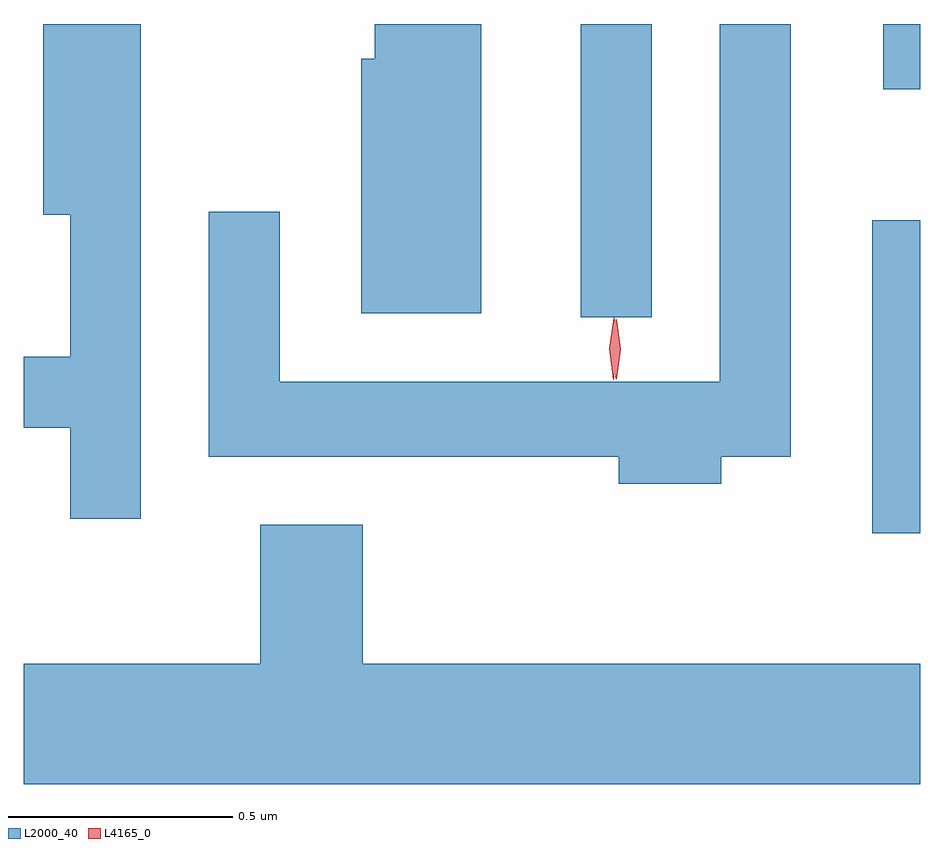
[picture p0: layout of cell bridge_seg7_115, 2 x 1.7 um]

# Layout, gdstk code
import gdstk
lib = gdstk.Library(unit=1e-6, precision=1e-09)
def R(c, l, rs):  # rectangles x0, y0, x1, y1
    for r in rs: c.add(gdstk.rectangle(r[:2], r[2:], *l))
def P(c, l, *ps):  # polygons
    for p in ps: c.add(gdstk.Polygon(p, *l))
L2000_40 = (2000, 40)
L4165_0 = (4165, 0)

bridge_seg7_115 = lib.new_cell('bridge_seg7_115')
R(bridge_seg7_115, L2000_40, [(1497.716,1761.496,1497.823,1762.194), (1497.066,1761.978,1497.224,1762.632), (1497.741,1762.486,1497.823,1762.632)])
P(bridge_seg7_115, L2000_40, [(1497.379,1761.666),(1497.534,1761.666),(1497.534,1762.632),(1497.376,1762.632),(1497.376,1761.834),(1496.394,1761.834),(1496.394,1762.213),(1496.236,1762.213),(1496.236,1761.666),(1497.151,1761.666),(1497.151,1761.606),(1497.379,1761.606)],
  [(1496.084,1762.632),(1495.866,1762.632),(1495.866,1762.206),(1495.926,1762.206),(1495.926,1761.889),(1495.823,1761.889),(1495.823,1761.731),(1495.926,1761.731),(1495.926,1761.528),(1496.084,1761.528)],
  [(1496.844,1762.632),(1496.606,1762.632),(1496.606,1762.554),(1496.576,1762.554),(1496.576,1761.986),(1496.844,1761.986)],
  [(1497.823,1761.204),(1496.579,1761.204),(1496.579,1761.514),(1496.351,1761.514),(1496.351,1761.204),(1495.823,1761.204),(1495.823,1760.936),(1497.823,1760.936)])
P(bridge_seg7_115, L4165_0, [(1497.138,1761.837),(1497.138,1761.838),(1497.129,1761.907),(1497.139,1761.976),(1497.139,1761.976),(1497.14,1761.976),(1497.149,1761.907),(1497.139,1761.838)],
  [(1497.145,1761.839),(1497.144,1761.84),(1497.135,1761.906),(1497.144,1761.972),(1497.145,1761.973),(1497.146,1761.972),(1497.155,1761.906),(1497.146,1761.84)])

lib.write_gds('bridge_seg7_115.gds')
